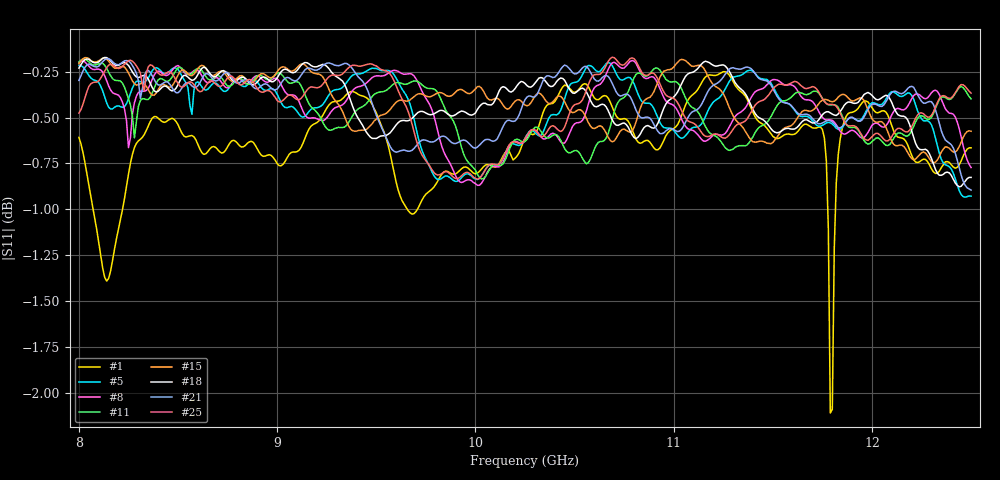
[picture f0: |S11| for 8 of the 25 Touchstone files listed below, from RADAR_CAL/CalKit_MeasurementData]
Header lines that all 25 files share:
#  HZ  S  RI  R  50.00
! Rohde & Schwarz Vector Network Analyzer
! Rohde-Schwarz,ZNA43-4Port,1332450044101932,2.92
! freq[Hz]  re:S11  im:S11
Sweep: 8 GHz to 12.5 GHz
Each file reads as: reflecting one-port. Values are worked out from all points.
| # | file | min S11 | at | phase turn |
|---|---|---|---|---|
| 1 | messung_pos_1357.s1p | -2.1 dB | 11.79 GHz | -3050 deg |
| 2 | messung_pos_1455.s1p | -1.3 dB | 10.52 GHz | -3031 deg |
| 3 | messung_pos_1554.s1p | -1.0 dB | 9.55 GHz | -3017 deg |
| 4 | messung_pos_1555.s1p | -1.0 dB | 9.55 GHz | -3017 deg |
| 5 | messung_pos_1753.s1p | -0.9 dB | 12.47 GHz | -2987 deg |
| 6 | messung_pos_1855.s1p | -0.9 dB | 12.5 GHz | -2969 deg |
| 7 | messung_pos_1955.s1p | -0.9 dB | 12.5 GHz | -2948 deg |
| 8 | messung_pos_2058.s1p | -0.9 dB | 10.01 GHz | -2923 deg |
| 9 | messung_pos_2081.s1p | -0.9 dB | 10.02 GHz | -2902 deg |
| 10 | messung_pos_2257.s1p | -0.8 dB | 10.03 GHz | -2872 deg |
| 11 | messung_pos_2354.s1p | -0.8 dB | 10.03 GHz | -2849 deg |
| 12 | messung_pos_2452.s1p | -0.7 dB | 12.09 GHz | -2825 deg |
| 13 | messung_pos_2553.s1p | -0.7 dB | 12.19 GHz | -2806 deg |
| 14 | messung_pos_2656.s1p | -0.7 dB | 12.2 GHz | -2789 deg |
| 15 | messung_pos_2756.s1p | -0.7 dB | 12.31 GHz | -2773 deg |
| 16 | messung_pos_2854.s1p | -0.8 dB | 12.32 GHz | -2759 deg |
| 17 | messung_pos_2956.s1p | -0.8 dB | 12.43 GHz | -2746 deg |
| 18 | messung_pos_2983.s1p | -0.9 dB | 12.44 GHz | -2733 deg |
| 19 | messung_pos_3046.s1p | -0.9 dB | 12.44 GHz | -2732 deg |
| 20 | messung_pos_3253.s1p | -0.9 dB | 12.5 GHz | -2704 deg |
| 21 | messung_pos_3357.s1p | -0.9 dB | 12.5 GHz | -2690 deg |
| 22 | messung_pos_3558.s1p | -0.7 dB | 10 GHz | -2659 deg |
| 23 | messung_pos_3653.s1p | -0.8 dB | 10.01 GHz | -2645 deg |
| 24 | messung_pos_3682.s1p | -0.8 dB | 10.01 GHz | -2630 deg |
| 25 | messung_pos_3855.s1p | -0.8 dB | 10.01 GHz | -2626 deg |
